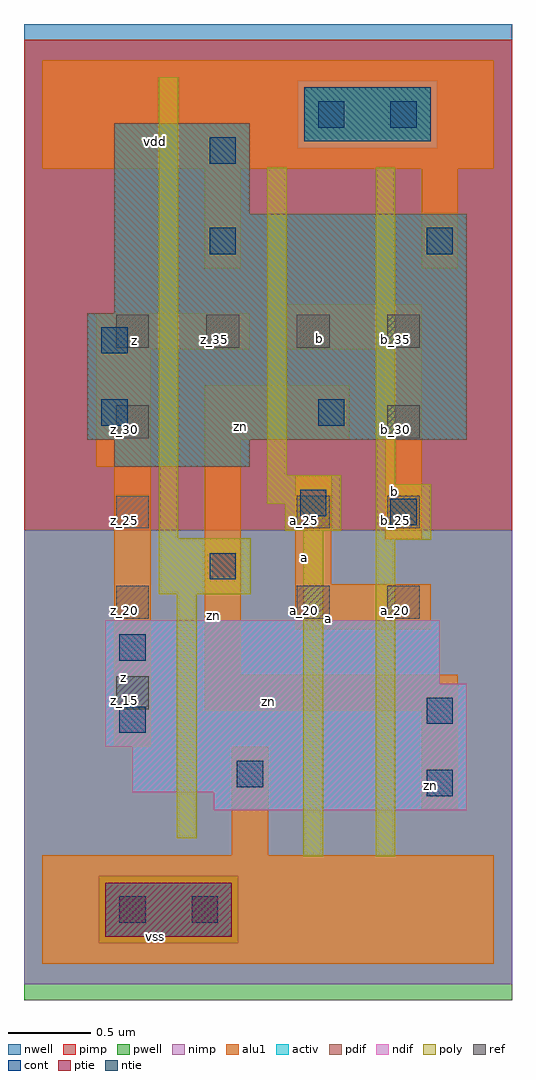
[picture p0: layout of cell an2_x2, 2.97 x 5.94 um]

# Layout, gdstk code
import gdstk
lib = gdstk.Library(unit=1e-6, precision=2.5e-09)
def R(c, l, rs):  # rectangles x0, y0, x1, y1
    for r in rs: c.add(gdstk.rectangle(r[:2], r[2:], *l))
def A(c, l, x, y, w, h, nx, ny, dx, dy):  # array of equal rectangles
    R(c, l, [(x+i*dx, y+j*dy, x+i*dx+w, y+j*dy+h) for i in range(nx) for j in range(ny)])
ndif = (3, 0)
pdif = (4, 0)
ntie = (5, 0)
ptie = (6, 0)
ref = (24, 0)
cont = (25, 0)
pwell = (41, 0)
nwell = (42, 0)
activ = (43, 0)
pimp = (44, 0)
nimp = (45, 0)
poly = (46, 0)
alu1 = (49, 0)

an2_x2 = lib.new_cell('an2_x2')
R(an2_x2, ndif, [(1.045,0.935,2.585,1.045), (0.55,1.045,2.585,1.32), (0.385,1.32,2.585,1.705), (0.385,1.705,2.42,2.09)])
R(an2_x2, pdif, [(0.44,3.025,1.265,3.19), (0.275,3.19,2.585,3.96), (0.44,3.96,2.585,4.565), (0.44,4.565,1.265,5.115)])
R(an2_x2, ntie, [(1.595,5.005,2.365,5.335)])
R(an2_x2, ptie, [(0.385,0.165,1.155,0.495)])
A(an2_x2, ref, 0.45, 1.55, 0.2, 0.2, 1, 4, 0, 0.55)
A(an2_x2, ref, 2.1, 2.1, 0.2, 0.2, 1, 3, 0, 0.55)
A(an2_x2, ref, 0.45, 3.75, 0.2, 0.2, 4, 1, 0.55, 0)
R(an2_x2, ref, [(1.55,2.1,1.75,2.3), (1.55,2.65,1.75,2.85)])
R(an2_x2, cont, [(0.47,0.25,0.63,0.41), (0.91,0.25,1.07,0.41), (2.34,1.02,2.5,1.18), (1.185,1.075,1.345,1.235), (0.47,1.405,0.63,1.565), (2.34,1.46,2.5,1.62), (0.47,1.845,0.63,2.005), (1.02,2.34,1.18,2.5), (2.12,2.67,2.28,2.83), (1.57,2.725,1.73,2.885), (0.36,3.275,0.52,3.435), (1.68,3.275,1.84,3.435), (0.36,3.715,0.52,3.875), (1.02,4.32,1.18,4.48), (2.34,4.32,2.5,4.48), (1.02,4.87,1.18,5.03), (1.68,5.09,1.84,5.25), (2.12,5.09,2.28,5.25)])
R(an2_x2, pwell, [(-0.11,-0.22,2.86,2.64)])
R(an2_x2, nwell, [(-0.11,2.64,2.86,5.72)])
R(an2_x2, activ, [(0.385,0.165,1.155,0.495), (1.045,0.935,2.585,1.045), (0.55,1.045,2.585,1.32), (0.385,1.32,2.585,1.705), (0.385,1.705,2.42,2.09), (0.44,3.025,1.265,3.19), (0.275,3.19,2.585,3.96), (0.44,3.96,2.585,4.565), (0.44,4.565,1.265,5.115), (1.595,5.005,2.365,5.335)])
R(an2_x2, pimp, [(0.345,0.125,1.195,0.535), (-0.11,2.64,2.86,4.965), (-0.11,4.965,1.555,5.375), (2.405,4.965,2.86,5.375), (-0.11,5.375,2.86,5.625)])
R(an2_x2, nimp, [(-0.11,-0.125,2.86,0.125), (-0.11,0.125,0.345,0.535), (1.195,0.125,2.86,0.535), (-0.11,0.535,2.86,2.64), (1.555,4.965,2.405,5.375)])
R(an2_x2, poly, [(1.59,0.655,1.71,2.635), (2.03,0.655,2.15,2.58), (0.82,0.765,0.94,2.25), (0.71,2.25,1.27,2.59), (2.03,2.58,2.37,2.92), (0.71,2.59,0.83,5.395), (1.48,2.635,1.82,2.8), (1.37,2.8,1.82,2.975), (2.03,2.92,2.15,4.845), (1.37,2.975,1.49,4.845)])
R(an2_x2, alu1, [(0,0,2.75,0.66), (1.155,0.66,1.375,1.32), (2.31,0.935,2.53,1.54), (0.44,1.32,0.66,3.025), (0.99,1.54,2.53,1.76), (0.99,1.76,1.21,3.19), (1.54,2.035,2.365,2.31), (1.54,2.31,1.76,2.97), (2.09,2.585,2.31,3.74), (0.33,3.025,0.66,3.74), (0.99,3.19,1.87,3.52), (0.33,3.74,1.265,3.96), (1.485,3.74,2.31,4.015), (0.99,4.235,1.21,4.84), (2.31,4.235,2.53,4.84), (0,4.84,2.75,5.5)])
an2_x2.add(gdstk.Label('vss', (0.6875,0.165), layer=49, texttype=0))
an2_x2.add(gdstk.Label('zn', (2.365,1.085), layer=49, texttype=0))
an2_x2.add(gdstk.Label('zn', (1.375,1.595), layer=49, texttype=0))
an2_x2.add(gdstk.Label('a', (1.745,2.1025), layer=49, texttype=0))
an2_x2.add(gdstk.Label('b', (2.145,2.8725), layer=49, texttype=0))
an2_x2.add(gdstk.Label('a', (1.595,2.475), layer=49, texttype=0))
an2_x2.add(gdstk.Label('zn', (1.045,2.1175), layer=49, texttype=0))
an2_x2.add(gdstk.Label('zn', (1.21,3.2725), layer=49, texttype=0))
an2_x2.add(gdstk.Label('z', (0.495,1.745), layer=49, texttype=0))
an2_x2.add(gdstk.Label('b', (1.69,3.8075), layer=49, texttype=0))
an2_x2.add(gdstk.Label('z', (0.5625,3.795), layer=49, texttype=0))
an2_x2.add(gdstk.Label('vdd', (0.6875,5.005), layer=49, texttype=0))
an2_x2.add(gdstk.Label('z_35', (1.05,3.8), layer=24, texttype=0))
an2_x2.add(gdstk.Label('b_25', (2.15,2.7), layer=24, texttype=0))
an2_x2.add(gdstk.Label('b_35', (1.6,3.8), layer=24, texttype=0))
an2_x2.add(gdstk.Label('b_35', (2.15,3.8), layer=24, texttype=0))
an2_x2.add(gdstk.Label('b_30', (2.15,3.25), layer=24, texttype=0))
an2_x2.add(gdstk.Label('z_15', (0.5,1.6), layer=24, texttype=0))
an2_x2.add(gdstk.Label('z_20', (0.5,2.15), layer=24, texttype=0))
an2_x2.add(gdstk.Label('z_25', (0.5,2.7), layer=24, texttype=0))
an2_x2.add(gdstk.Label('z_30', (0.5,3.25), layer=24, texttype=0))
an2_x2.add(gdstk.Label('z_35', (0.5,3.8), layer=24, texttype=0))
an2_x2.add(gdstk.Label('a_20', (1.6,2.15), layer=24, texttype=0))
an2_x2.add(gdstk.Label('a_25', (1.6,2.7), layer=24, texttype=0))
an2_x2.add(gdstk.Label('a_20', (2.15,2.15), layer=24, texttype=0))

lib.write_gds('an2_x2.gds')
